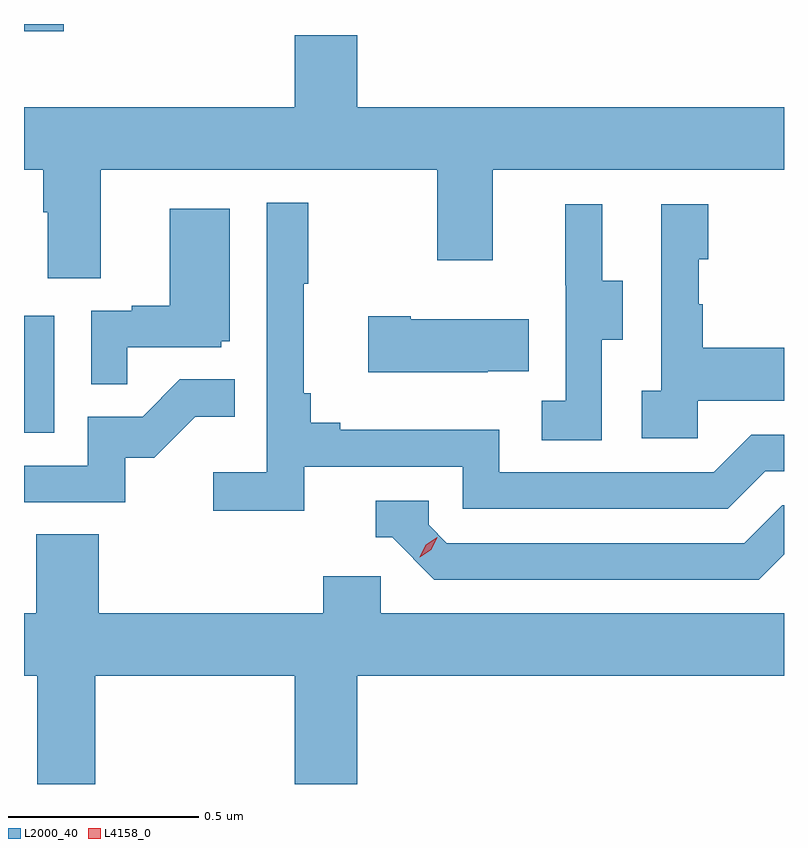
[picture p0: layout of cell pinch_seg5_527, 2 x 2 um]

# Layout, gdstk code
import gdstk
lib = gdstk.Library(unit=1e-6, precision=1e-09)
def R(c, l, rs):  # rectangles x0, y0, x1, y1
    for r in rs: c.add(gdstk.rectangle(r[:2], r[2:], *l))
def P(c, l, *ps):  # polygons
    for p in ps: c.add(gdstk.Polygon(p, *l))
L2000_40 = (2000, 40)
L4158_0 = (4158, 0)

pinch_seg5_527 = lib.new_cell('pinch_seg5_527')
R(pinch_seg5_527, L2000_40, [(895.563,834.756,895.642,835.063), (895.563,835.812,895.667,835.831)])
P(pinch_seg5_527, L2000_40, [(895.765,835.448),(896.65,835.448),(896.65,835.209),(896.797,835.209),(896.797,835.448),(897.563,835.448),(897.563,835.612),(896.44,835.612),(896.44,835.801),(896.276,835.801),(896.276,835.612),(895.563,835.612),(895.563,835.448),(895.613,835.448),(895.613,835.336),(895.625,835.336),(895.625,835.162),(895.765,835.162)],
  [(896.3,834.666),(896.718,834.666),(896.718,834.555),(897.415,834.555),(897.514,834.654),(897.563,834.654),(897.563,834.75),(897.477,834.75),(897.378,834.651),(896.814,834.651),(896.814,834.763),(896.395,834.763),(896.395,834.782),(896.318,834.782),(896.318,834.859),(896.299,834.859),(896.299,835.147),(896.311,835.147),(896.311,835.36),(896.202,835.36),(896.202,834.652),(896.061,834.652),(896.061,834.55),(896.3,834.55)],
  [(897.084,835),(897.139,835),(897.139,835.155),(897.085,835.155),(897.085,835.357),(896.987,835.357),(896.987,835.143),(896.988,835.143),(896.988,834.839),(896.925,834.839),(896.925,834.736),(897.084,834.736)],
  [(897.336,834.839),(897.563,834.839),(897.563,834.979),(897.349,834.979),(897.349,835.094),(897.339,835.094),(897.339,835.212),(897.364,835.212),(897.364,835.357),(897.24,835.357),(897.24,834.866),(897.189,834.866),(897.189,834.741),(897.336,834.741)],
  [(895.835,834.981),(896.082,834.981),(896.082,834.996),(896.104,834.996),(896.104,835.345),(895.946,835.345),(895.946,835.09),(895.847,835.09),(895.847,835.077),(895.74,835.077),(895.74,834.883),(895.835,834.883)],
  [(896.783,834.917),(896.891,834.917),(896.891,835.054),(896.581,835.054),(896.581,835.062),(896.469,835.062),(896.469,834.914),(896.783,834.914)],
  [(895.83,834.69),(895.906,834.69),(896.013,834.797),(896.117,834.797),(896.117,834.896),(895.973,834.896),(895.875,834.798),(895.731,834.798),(895.731,834.669),(895.563,834.669),(895.563,834.573),(895.83,834.573)],
  [(897.563,834.436),(897.563,834.564),(897.558,834.564),(897.459,834.465),(896.676,834.465),(896.628,834.513),(896.628,834.576),(896.489,834.576),(896.489,834.48),(896.532,834.48),(896.643,834.369),(897.496,834.369)],
  [(895.751,834.116),(896.276,834.116),(896.276,833.831),(896.44,833.831),(896.44,834.116),(897.563,834.116),(897.563,834.28),(896.502,834.28),(896.502,834.378),(896.351,834.378),(896.351,834.28),(895.76,834.28),(895.76,834.488),(895.595,834.488),(895.595,834.28),(895.563,834.28),(895.563,834.116),(895.598,834.116),(895.598,833.831),(895.751,833.831)])
P(pinch_seg5_527, L4158_0, [(896.604,834.428),(896.604,834.428),(896.62,834.46),(896.651,834.48),(896.651,834.48),(896.651,834.479),(896.635,834.447),(896.604,834.428)])

lib.write_gds('pinch_seg5_527.gds')
